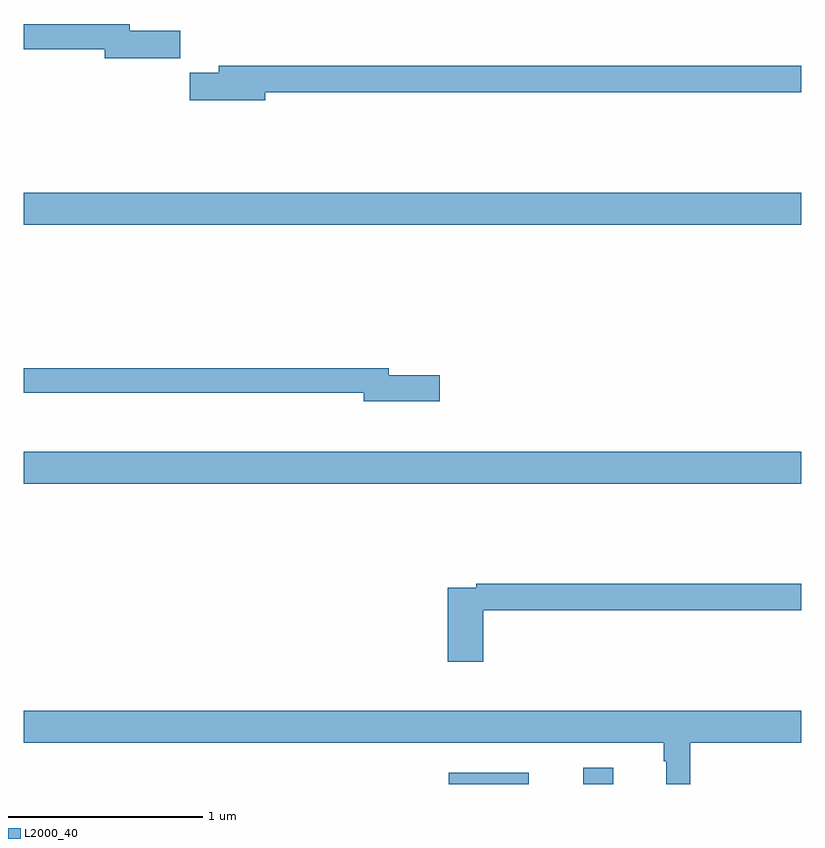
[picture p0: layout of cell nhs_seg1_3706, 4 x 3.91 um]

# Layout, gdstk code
import gdstk
lib = gdstk.Library(unit=1e-6, precision=1e-09)
def R(c, l, rs):  # rectangles x0, y0, x1, y1
    for r in rs: c.add(gdstk.rectangle(r[:2], r[2:], *l))
def P(c, l, *ps):  # polygons
    for p in ps: c.add(gdstk.Polygon(p, *l))
L2000_40 = (2000, 40)

nhs_seg1_3706 = lib.new_cell('nhs_seg1_3706')
R(nhs_seg1_3706, L2000_40, [(315.186,538.199,315.599,538.258), (315.878,538.199,316.033,538.282), (313,539.744,317,539.908), (313,541.076,317,541.24)])
P(nhs_seg1_3706, L2000_40, [(313.807,542.073),(313.546,542.073),(313.546,542.107),(313,542.107),(313,541.978),(313.418,541.978),(313.418,541.931),(313.807,541.931)],
  [(314.242,541.756),(317,541.756),(317,541.892),(314.003,541.892),(314.003,541.856),(313.854,541.856),(313.854,541.714),(314.242,541.714)],
  [(315.139,540.302),(314.878,540.302),(314.878,540.338),(313,540.338),(313,540.21),(314.75,540.21),(314.75,540.167),(315.139,540.167)],
  [(315.365,539.092),(317,539.092),(317,539.228),(315.328,539.228),(315.328,539.208),(315.182,539.208),(315.182,538.827),(315.365,538.827)],
  [(316.427,538.412),(317,538.412),(317,538.576),(313,538.576),(313,538.412),(316.291,538.412),(316.291,538.316),(316.306,538.316),(316.306,538.199),(316.427,538.199)])

lib.write_gds('nhs_seg1_3706.gds')
